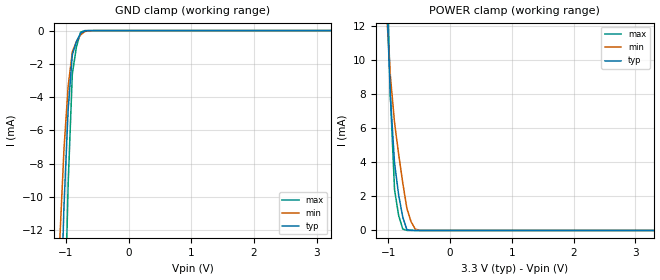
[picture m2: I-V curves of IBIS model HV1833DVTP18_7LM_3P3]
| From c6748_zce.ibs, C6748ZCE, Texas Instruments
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|   Model Cell HV1833DVTP18_7LM_3P3
|IHHV1833DVTP18_3P3
[Model]   HV1833DVTP18_7LM_3P3
Model_type   Input
Polarity   Non-Inverting
Vinl =  0.8V
Vinh =  2V
C_comp   0.6935759p   0.5873084p   0.8051541p
[Model Spec]
Vinl   0.8V   0.8V   0.8V
Vinh   2V   2V   2V
[Temperature Range]   25   125   -40
[Voltage Range]   3.3   2.97   3.63
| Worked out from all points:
|   GND clamp passes 1 mA (typ) near -0.86 V on its own axis
|   POWER clamp passes 1 mA (typ) near -0.78 V on its own axis
[POWER_clamp]
|   voltage   I(typ)   I(min)   I(max)
-3.3V     577mA      699.3mA    642.1mA
-1.033V   14.21mA    13.03mA    16.74mA
-966.7mV  7.793mA    9.007mA    7.813mA
-900mV    3.948mA    6.325mA    2.381mA
-833.3mV  2.08mA     4.462mA    876uA
-766.7mV  779.2uA    2.784mA    82.54uA
-700mV    46.09uA    1.291mA    978.9nA
-633.3mV  15.73uA    522.4uA    478.6nA
-566.7mV  388.5nA    93.56uA    220.2nA
-500mV    49.53nA    4.585uA    203.5nA
3.3V      -3.663pA   -14.5nA    -1.514pA
[GND_clamp]
|   voltage   I(typ)   I(min)   I(max)
-3.3V     -508.9mA   -631.8mA   -692.1mA
-1.1V     -18.99mA   -12.61mA   -33.52mA
-1.033V   -10.59mA   -7.151mA   -19.56mA
-966.7mV  -4.748mA   -3.373mA   -9.253mA
-900mV    -1.465mA   -1.277mA   -2.61mA
-833.3mV  -642.1uA   -655.9uA   -961.1uA
-766.7mV  -157.4uA   -248uA     -91.61uA
-700mV    -10.5uA    -52.92uA   -1.769uA
-566.7mV  -258nA     -3.484uA   -18.04nA
3.233V    32.19nA    19.88nA    142.8nA
